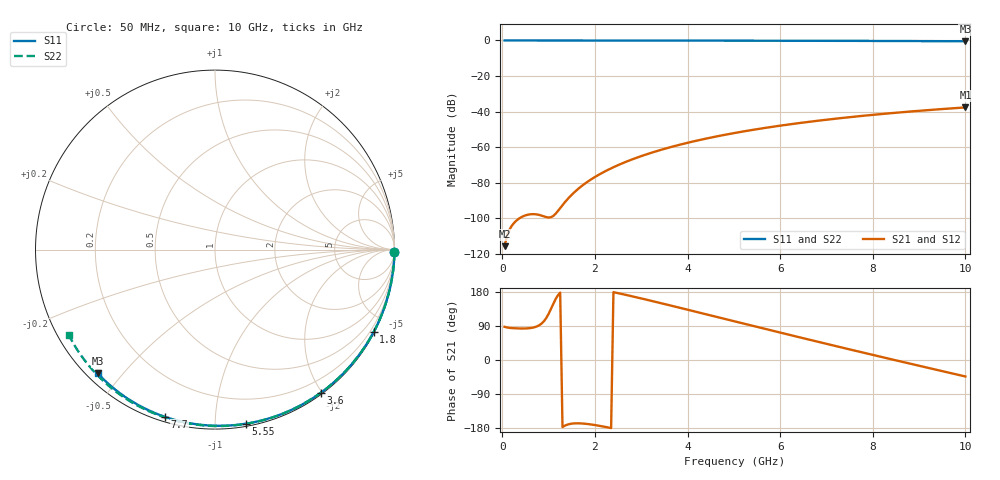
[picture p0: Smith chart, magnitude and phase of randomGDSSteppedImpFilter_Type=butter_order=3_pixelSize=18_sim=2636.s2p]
! freq	dB(S11)	phase(S11)	dB(S12)	phase(S12)
!  dB(S21)	phase(S21)	dB(S22)	phase(S22)
!S-par simulation data
#  GHz  S  DB  R 50
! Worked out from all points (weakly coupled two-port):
!   200 points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, 50 MHz to 10 GHz, reference 50 ohm
!   highest |S21| = -37.68 dB at 10 GHz (marker M1); lowest = -115.8 dB at 50 MHz (marker M2)
!   lowest |S11| = -0.4 dB at 10 GHz (marker M3), VSWR 38.96, Z = 1.52 - j21.5 ohm
!   |S11| at or under -10 dB: nowhere
!   |S22| runs from -0.5 to 0.0 dB; largest |S21 - S12| = 0
!   S11 on the Smith chart (normalised r, x): 50 MHz: open; 1.8 GHz: 0.04, -4.10; 3.6 GHz: 0.02, -1.98; 5.55 GHz: 0.02, -1.19; 7.7 GHz: 0.02, -0.74; 10 GHz: 0.03, -0.43
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0.05  -0.00 -0.8  -115.76 87.6  -115.76 87.6  -0.00 -0.9
0.45  -0.01 -6.9  -98.93 83.1  -98.93 83.1  -0.01 -7.8
0.9  -0.02 -13.8  -99.00 102.5  -99.00 102.5  -0.02 -15.4
1.3  -0.02 -19.9  -92.67 -177.0  -92.67 -177.0  -0.03 -22.2
1.75  -0.03 -26.6  -81.21 -167.8  -81.21 -167.8  -0.04 -29.7
1.8  -0.03 -27.4  -80.25 -168.3  -80.25 -168.3  -0.04 -30.6
2.15  -0.04 -32.6  -74.61 -174.8  -74.61 -174.8  -0.05 -36.4
2.5  -0.05 -37.7  -70.16 176.4  -70.16 176.4  -0.05 -42.1
2.9  -0.06 -43.5  -66.01 165.4  -66.01 165.4  -0.06 -48.6
3.4  -0.07 -50.7  -61.75 150.8  -61.75 150.8  -0.08 -56.5
3.6  -0.07 -53.5  -60.26 144.8  -60.26 144.8  -0.08 -59.6
3.9  -0.08 -57.7  -58.22 135.8  -58.22 135.8  -0.09 -64.3
4.3  -0.09 -63.2  -55.79 123.7  -55.79 123.7  -0.10 -70.4
5.05  -0.11 -73.3  -51.91 101.0  -51.91 101.0  -0.13 -81.6
5.55  -0.13 -79.9  -49.72 85.9  -49.72 85.9  -0.15 -88.9
6.1  -0.15 -87.0  -47.58 69.4  -47.58 69.4  -0.17 -96.7
6.7  -0.18 -94.5  -45.53 51.5  -45.53 51.5  -0.21 -105.1
7.2  -0.21 -100.6  -44.01 36.8  -44.01 36.8  -0.24 -112.0
7.7  -0.24 -106.7  -42.63 22.2  -42.63 22.2  -0.27 -118.8
8.35  -0.29 -114.4  -41.02 3.4  -41.02 3.4  -0.33 -127.5
9.2  -0.36 -124.3  -39.18 -20.9  -39.18 -20.9  -0.41 -139.0
10  -0.45 -133.5  -37.68 -43.5  -37.68 -43.5  -0.51 -149.8
